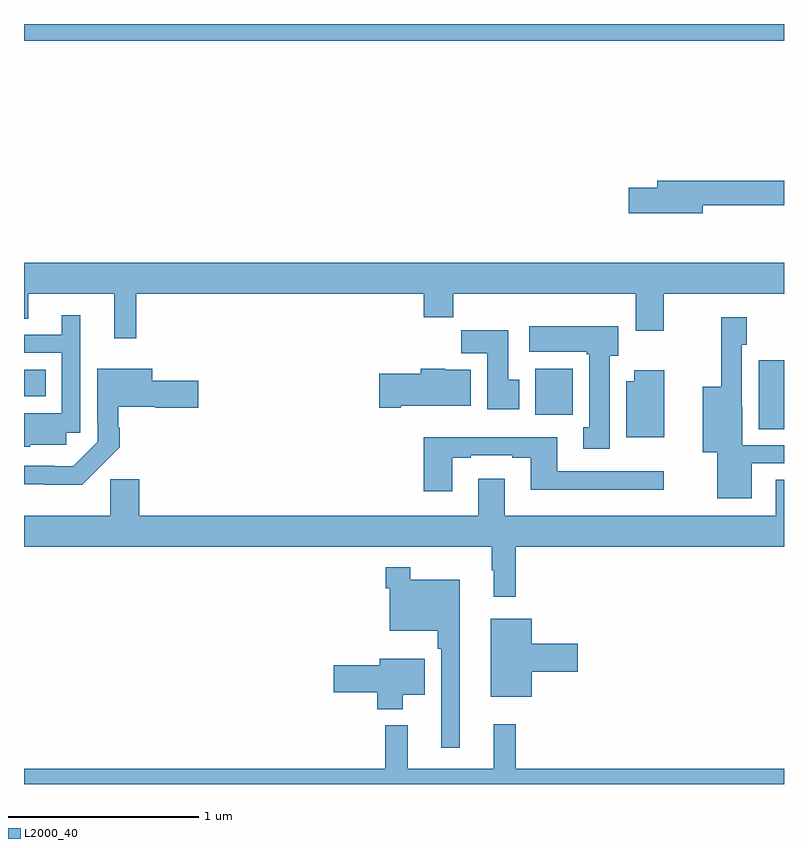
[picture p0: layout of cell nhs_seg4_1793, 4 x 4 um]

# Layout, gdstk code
import gdstk
lib = gdstk.Library(unit=1e-6, precision=1e-09)
def R(c, l, rs):  # rectangles x0, y0, x1, y1
    for r in rs: c.add(gdstk.rectangle(r[:2], r[2:], *l))
def P(c, l, *ps):  # polygons
    for p in ps: c.add(gdstk.Polygon(p, *l))
L2000_40 = (2000, 40)

nhs_seg4_1793 = lib.new_cell('nhs_seg4_1793')
R(nhs_seg4_1793, L2000_40, [(206.867,802.768,207,803.131), (205.691,802.844,205.888,803.086), (203,802.94,203.114,803.08), (203,804.812,207,804.9)])
P(nhs_seg4_1793, L2000_40, [(206.572,803.946),(207,803.946),(207,804.074),(206.333,804.074),(206.333,804.038),(206.184,804.038),(206.184,803.903),(206.572,803.903)],
  [(203.591,803.48),(205.103,803.48),(205.103,803.356),(205.259,803.356),(205.259,803.48),(206.219,803.48),(206.219,803.286),(206.367,803.286),(206.367,803.48),(207,803.48),(207,803.644),(203,803.644),(203,803.35),(203.023,803.35),(203.023,803.48),(203.474,803.48),(203.474,803.247),(203.591,803.247)],
  [(203.034,802.686),(203.223,802.686),(203.223,802.749),(203.295,802.749),(203.295,803.368),(203.198,803.368),(203.198,803.265),(203,803.265),(203,803.169),(203.199,803.169),(203.199,802.852),(203,802.852),(203,802.676),(203.034,802.676)],
  [(206.83,802.587),(207,802.587),(207,802.683),(206.779,802.683),(206.779,802.886),(206.778,802.886),(206.778,803.211),(206.805,803.211),(206.805,803.356),(206.67,803.356),(206.67,802.99),(206.573,802.99),(206.573,802.646),(206.648,802.646),(206.648,802.403),(206.83,802.403)],
  [(206.083,803.154),(206.128,803.154),(206.128,803.308),(205.659,803.308),(205.659,803.174),(205.963,803.174),(205.963,803.161),(205.976,803.161),(205.976,802.778),(205.943,802.778),(205.943,802.665),(206.083,802.665)],
  [(205.606,803.028),(205.549,803.028),(205.549,803.287),(205.3,803.287),(205.3,803.168),(205.439,803.168),(205.439,802.872),(205.606,802.872)],
  [(204.982,802.892),(205.351,802.892),(205.351,803.08),(205.218,803.08),(205.218,803.086),(205.088,803.086),(205.088,803.058),(204.87,803.058),(204.87,802.88),(204.982,802.88)],
  [(203.504,802.673),(203.504,802.775),(203.497,802.775),(203.497,802.885),(203.691,802.885),(203.691,802.88),(203.917,802.88),(203.917,803.022),(203.674,803.022),(203.674,803.086),(203.385,803.086),(203.385,802.801),(203.388,802.801),(203.388,802.701),(203.26,802.573),(203.159,802.573),(203.159,802.575),(203,802.575),(203,802.478),(203.107,802.478),(203.107,802.476),(203.306,802.476)],
  [(206.371,803.077),(206.213,803.077),(206.213,803.02),(206.171,803.02),(206.171,802.724),(206.371,802.724)],
  [(205.255,802.617),(205.351,802.617),(205.351,802.629),(205.571,802.629),(205.571,802.617),(205.667,802.617),(205.667,802.448),(206.368,802.448),(206.368,802.545),(205.807,802.545),(205.807,802.726),(205.103,802.726),(205.103,802.44),(205.255,802.44)],
  [(205.589,802.148),(207,802.148),(207,802.502),(206.957,802.502),(206.957,802.312),(205.531,802.312),(205.531,802.507),(205.391,802.507),(205.391,802.312),(203.606,802.312),(203.606,802.503),(203.455,802.503),(203.455,802.312),(203,802.312),(203,802.148),(205.461,802.148),(205.461,802.025),(205.472,802.025),(205.472,801.885),(205.589,801.885)],
  [(205.294,801.976),(205.033,801.976),(205.033,802.042),(204.904,802.042),(204.904,801.929),(204.924,801.929),(204.924,801.707),(205.177,801.707),(205.177,801.611),(205.197,801.611),(205.197,801.09),(205.294,801.09)],
  [(205.672,801.491),(205.915,801.491),(205.915,801.638),(205.672,801.638),(205.672,801.769),(205.457,801.769),(205.457,801.359),(205.672,801.359)],
  [(204.994,801.371),(205.108,801.371),(205.108,801.559),(204.872,801.559),(204.872,801.524),(204.63,801.524),(204.63,801.382),(204.86,801.382),(204.86,801.293),(204.994,801.293)],
  [(207,800.98),(205.589,800.98),(205.589,801.214),(205.472,801.214),(205.472,800.98),(205.019,800.98),(205.019,801.208),(204.901,801.208),(204.901,800.98),(203,800.98),(203,800.9),(207,800.9)])

lib.write_gds('nhs_seg4_1793.gds')
